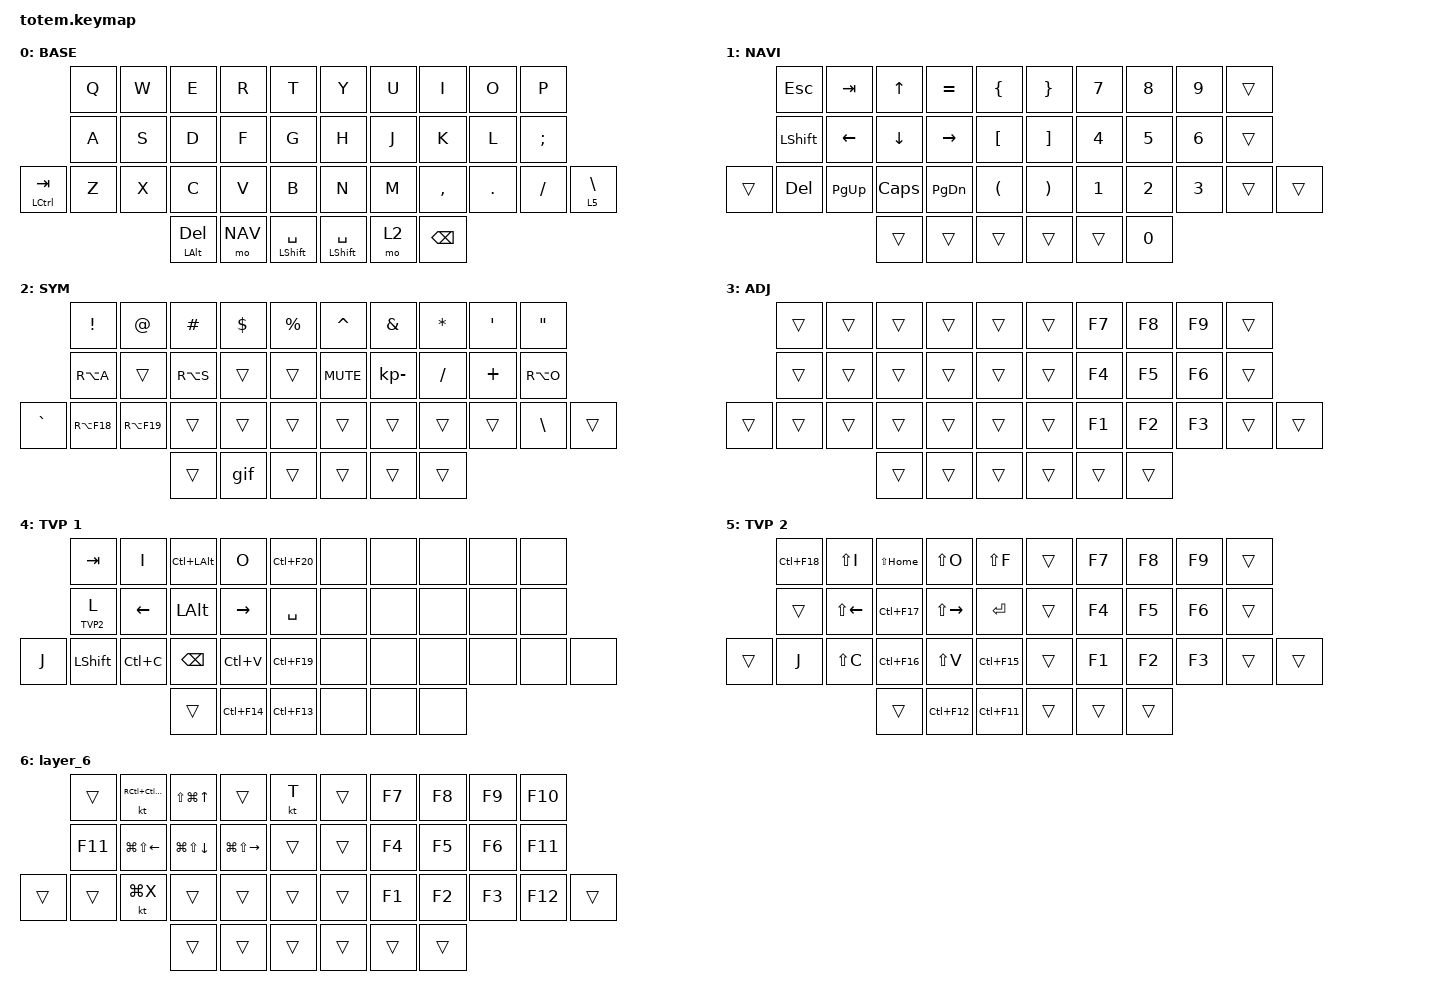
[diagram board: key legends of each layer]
//
//                                                        ▀▀▀▀▀     ▀▀▀▀▀          ▀▀█▀▀
//                                                        ▄▀▀▀▄  ▄  ▄▀▀▀▄  ▄  ▄▀▀▀▄  █  ▄▀▀▀▄
//                                                        █   █  █  █   █  █  █   █  █  █   █
//                                                         ▀▀▀   █   ▀▀▀   █   ▀▀▀   ▀   ▀▀▀
//                                                               █      ▄▄▄█▄▄▄    █   █  
//                                                               ▀      █  █  █     █▄█
//                                                             ▀▀▀▀▀    █  █  █      ▀
//                                                                      ▀  ▀  ▀
//
// ▄▄▄▄▄▄▄▄▄▄▄▄▄▄▄▄▄▄▄▄▄▄▄▄▄▄▄▄▄▄▄▄▄▄▄▄▄▄▄▄▄▄▄▄▄▄▄▄▄▄▄▄▄▄▄▄▄▄▄▄▄▄▄▄▄▄▄▄▄▄▄▄▄▄▄▄▄▄▄▄▄▄▄▄▄▄▄▄▄▄▄▄▄▄▄▄▄▄▄▄▄▄▄▄▄▄▄▄▄▄▄▄▄▄▄▄▄▄▄▄▄▄▄▄▄▄▄▄▄▄▄▄▄▄▄▄▄▄▄▄▄▄▄▄▄▄▄▄▄

#include <behaviors.dtsi>
#include <dt-bindings/zmk/keys.h>

#define BASE 0
#define NAV  1
#define SYM  2
#define ADJ  3
#define TVP1 4
#define TVP2 5

&mt {
    quick-tap-ms = <100>;
    global-quick-tap;
    tapping-term-ms = <130>;
    require-prior-idle-ms = <149>;
    flavor = "tap-preferred";
};

/ {
    combos {
        compatible = "zmk,combos";

        combo_esc {
            timeout-ms = <50>;
            key-positions = <0 1>;
            bindings = <&kp ESC>;
        };

        del {
            bindings = <&kp BACKSPACE>;
            key-positions = <16 17>;
            timeout-ms = <50>;
        };

        quotes {
            bindings = <&kp APOS>;
            key-positions = <7 8>;
            timeout-ms = <35>;
        };

        gui {
            bindings = <&kp LEFT_GUI>;
            key-positions = <32 37>;
            timeout-ms = <50>;
        };

        tab {
            bindings = <&kp TAB>;
            key-positions = <2 1>;
            timeout-ms = <25>;
        };

        home {
            bindings = <&kp HOME>;
            key-positions = <2 3>;
            timeout-ms = <20>;
        };

        end {
            bindings = <&kp END>;
            key-positions = <23 24>;
            timeout-ms = <50>;
        };

        pgup {
            bindings = <&kp PAGE_UP>;
            key-positions = <7 6>;
            timeout-ms = <20>;
        };

        pgdown {
            bindings = <&kp PAGE_DOWN>;
            key-positions = <28 27>;
            timeout-ms = <35>;
        };

        cc {
            bindings = <&kp LC(C)>;
            key-positions = <22 24>;
            timeout-ms = <50>;
        };

        vv {
            bindings = <&kp LC(V)>;
            key-positions = <22 25>;
            timeout-ms = <50>;
        };

        minus {
            bindings = <&kp MINUS>;
            key-positions = <6 5>;
            timeout-ms = <50>;
        };

        plus {
            bindings = <&kp EQUAL>;
            key-positions = <15 16>;
            timeout-ms = <50>;
        };

        delete {
            bindings = <&kp DELETE>;
            key-positions = <12 13>;
            timeout-ms = <20>;
        };

        enter2 {
            bindings = <&kp KP_ENTER>;
            key-positions = <16 18>;
            timeout-ms = <50>;
        };

        esc {
            bindings = <&kp ESCAPE>;
            key-positions = <13 2>;
            timeout-ms = <25>;
        };

        tilde {
            bindings = <&kp GRAVE>;
            key-positions = <14 13>;
        };

        bootloader {
            bindings = <&bootloader>;
            key-positions = <10 14>;
        };

        bl2 {
            bindings = <&bootloader>;
            key-positions = <15 19>;
        };

        enter {
            bindings = <&kp ENTER>;
            key-positions = <13 11>;
        };
    };

    macros {
        gif: gif {
            label = "giphy";
            compatible = "zmk,behavior-macro";
            #binding-cells = <0>;
            bindings =
                <&macro_press>,
                <&kp LSHFT>,
                <&macro_tap>,
                <&kp N2>,
                <&macro_release>,
                <&kp LSHFT>,
                <&macro_tap>,
                <&kp G &kp I &kp F>;
        };
    };

    keymap {
        compatible = "zmk,keymap";

        // ▄▄▄▄▄▄▄▄▄▄▄▄▄▄▄▄▄▄▄▄▄▄▄▄▄▄▄▄▄▄▄▄▄▄▄▄▄▄▄▄▄▄▄▄▄▄▄▄▄▄▄▄▄▄▄▄▄▄▄▄▄▄▄▄▄▄▄▄▄▄▄▄▄▄▄▄▄▄▄▄▄▄▄▄▄▄▄▄▄▄▄▄▄▄▄▄▄▄▄▄▄▄▄▄▄▄▄▄▄▄▄▄▄▄▄▄▄▄▄▄▄▄▄▄▄▄▄▄▄▄▄▄▄▄▄▄▄▄▄▄▄▄▄▄▄▄▄▄▄

        base_layer {
            // ┏━━━━━━━━━━━━━━━━━━━━━━━━━━━━━━━━━━━━━━━┓

            label = "BASE";

            // ┗━━━━━━━━━━━━━━━━━━━━━━━━━━━━━━━━━━━━━━━┛
            //             ┏━━━━━━━━━━━┳━━━━━━━━━━━┳━━━━━━━━━━━┳━━━━━━━━━━━┳━━━━━━━━━━━┓   ┏━━━━━━━━━━━┳━━━━━━━━━━━┳━━━━━━━━━━━┳━━━━━━━━━━━┳━━━━━━━━━━━┓
            //             ┃     Q     ┃     W     ┃     F     ┃     P     ┃     G     ┃   ┃     J     ┃     L     ┃     U     ┃     Y     ┃     ;     ┃
            //             ┣━━━━━━━━━━━╋━━━━━━━━━━━╋━━━━━━━━━━━╋━━━━━━━━━━━╋━━━━━━━━━━━┫   ┣━━━━━━━━━━━╋━━━━━━━━━━━╋━━━━━━━━━━━╋━━━━━━━━━━━╋━━━━━━━━━━━┫
            //             ┃     A     ┃     R     ┃     S     ┃     T     ┃     D     ┃   ┃     H     ┃     N     ┃     E     ┃     I     ┃     O     ┃
            // ┏━━━━━━━━━━━╋━━━━━━━━━━━╋━━━━━━━━━━━╋━━━━━━━━━━━╋━━━━━━━━━━━╋━━━━━━━━━━━┫   ┣━━━━━━━━━━━╋━━━━━━━━━━━╋━━━━━━━━━━━╋━━━━━━━━━━━╋━━━━━━━━━━━╋━━━━━━━━━━━┓
            // ┃     Q     ┃     Z     ┃     X     ┃     C     ┃     V     ┃     B     ┃   ┃     K     ┃     M     ┃     ,     ┃     .     ┃     /     ┃     \     ┃
            // ┗━━━━━━━━━━━┻━━━━━━━━━━━┻━━━━━━━━━━━╋━━━━━━━━━━━╋━━━━━━━━━━━╋━━━━━━━━━━━┫   ┣━━━━━━━━━━━╋━━━━━━━━━━━╋━━━━━━━━━━━╋━━━━━━━━━━━┻━━━━━━━━━━━┻━━━━━━━━━━━┛
            //                                     ┃    DEL    ┃    TAB    ┃    SPC    ┃   ┃   ENTER   ┃           ┃   BSPC    ┃
            //                                     ┗━━━━━━━━━━━┻━━━━━━━━━━━┻━━━━━━━━━━━┛   ┗━━━━━━━━━━━┻━━━━━━━━━━━┻━━━━━━━━━━━┛

            bindings = <
               &kp Q  &kp W  &kp E             &kp R    &kp T                   &kp Y                 &kp U  &kp I          &kp O    &kp P
               &kp A  &kp S  &kp D             &kp F    &kp G                   &kp H                 &kp J  &kp K          &kp L    &kp SEMICOLON
&mt LCTRL TAB  &kp Z  &kp X  &kp C             &kp V    &kp B                   &kp N                 &kp M  &kp COMMA      &kp DOT  &kp FSLH       &lt 5 BACKSLASH
                             &mt LEFT_ALT DEL  &mo NAV  &mt LEFT_SHIFT SPACE    &mt LEFT_SHIFT SPACE  &mo 2  &kp BACKSPACE
            >;
        };

        // ▄▄▄▄▄▄▄▄▄▄▄▄▄▄▄▄▄▄▄▄▄▄▄▄▄▄▄▄▄▄▄▄▄▄▄▄▄▄▄▄▄▄▄▄▄▄▄▄▄▄▄▄▄▄▄▄▄▄▄▄▄▄▄▄▄▄▄▄▄▄▄▄▄▄▄▄▄▄▄▄▄▄▄▄▄▄▄▄▄▄▄▄▄▄▄▄▄▄▄▄▄▄▄▄▄▄▄▄▄▄▄▄▄▄▄▄▄▄▄▄▄▄▄▄▄▄▄▄▄▄▄▄▄▄▄▄▄▄▄▄▄▄▄▄▄▄▄▄▄

        nav_layer {
            // ┏━━━━━━━━━━━━━━━━━━━━━━━━━━━━━━━━━━━━━━━┓

            label = "NAVI";

            // ┗━━━━━━━━━━━━━━━━━━━━━━━━━━━━━━━━━━━━━━━┛
            //             ┏━━━━━━━━━━━┳━━━━━━━━━━━┳━━━━━━━━━━━┳━━━━━━━━━━━┳━━━━━━━━━━━┓   ┏━━━━━━━━━━━┳━━━━━━━━━━━┳━━━━━━━━━━━┳━━━━━━━━━━━┳━━━━━━━━━━━┓
            //             ┃           ┃           ┃     UP    ┃           ┃     {     ┃   ┃     }     ┃     7     ┃     8     ┃     9     ┃     +     ┃
            //             ┣━━━━━━━━━━━╋━━━━━━━━━━━╋━━━━━━━━━━━╋━━━━━━━━━━━╋━━━━━━━━━━━┫   ┣━━━━━━━━━━━╋━━━━━━━━━━━╋━━━━━━━━━━━╋━━━━━━━━━━━╋━━━━━━━━━━━┫
            //             ┃   SHIFT   ┃   LEFT    ┃    DOWN   ┃   RIGHT   ┃     [     ┃   ┃     ]     ┃     4     ┃     5     ┃     6     ┃     -     ┃
            // ┏━━━━━━━━━━━╋━━━━━━━━━━━╋━━━━━━━━━━━╋━━━━━━━━━━━╋━━━━━━━━━━━╋━━━━━━━━━━━┫   ┣━━━━━━━━━━━╋━━━━━━━━━━━╋━━━━━━━━━━━╋━━━━━━━━━━━╋━━━━━━━━━━━╋━━━━━━━━━━━┓
            // ┃           ┃           ┃   P UP    ┃  C LOCK   ┃  P DOWN   ┃     (     ┃   ┃     )     ┃     1     ┃     2     ┃     3     ┃     *     ┃           ┃
            // ┗━━━━━━━━━━━┻━━━━━━━━━━━┻━━━━━━━━━━━╋━━━━━━━━━━━╋━━━━━━━━━━━╋━━━━━━━━━━━┫   ┣━━━━━━━━━━━╋━━━━━━━━━━━╋━━━━━━━━━━━╋━━━━━━━━━━━┻━━━━━━━━━━━┻━━━━━━━━━━━┛
            //                                     ┃           ┃    TAB    ┃    SPC    ┃   ┃    DEL    ┃     0     ┃           ┃
            //                                     ┗━━━━━━━━━━━┻━━━━━━━━━━━┻━━━━━━━━━━━┛   ┗━━━━━━━━━━━┻━━━━━━━━━━━┻━━━━━━━━━━━┛

            bindings = <
        &kp ESC    &kp TAB    &kp UP    &kp EQUAL  &kp LBRC    &kp RBRC  &kp N7        &kp N8        &kp N9        &trans
        &kp LSHFT  &kp LEFT   &kp DOWN  &kp RIGHT  &kp LBKT    &kp RBKT  &kp NUMBER_4  &kp N5        &kp NUMBER_6  &trans
&trans  &kp DEL    &kp PG_UP  &kp CAPS  &kp PG_DN  &kp LPAR    &kp RPAR  &kp N1        &kp NUMBER_2  &kp NUMBER_3  &trans  &trans
                              &trans    &trans     &trans      &trans    &trans        &kp N0
            >;
        };

        // ▄▄▄▄▄▄▄▄▄▄▄▄▄▄▄▄▄▄▄▄▄▄▄▄▄▄▄▄▄▄▄▄▄▄▄▄▄▄▄▄▄▄▄▄▄▄▄▄▄▄▄▄▄▄▄▄▄▄▄▄▄▄▄▄▄▄▄▄▄▄▄▄▄▄▄▄▄▄▄▄▄▄▄▄▄▄▄▄▄▄▄▄▄▄▄▄▄▄▄▄▄▄▄▄▄▄▄▄▄▄▄▄▄▄▄▄▄▄▄▄▄▄▄▄▄▄▄▄▄▄▄▄▄▄▄▄▄▄▄▄▄▄▄▄▄▄▄▄▄

        sim_layer {
            // ┏━━━━━━━━━━━━━━━━━━━━━━━━━━━━━━━━━━━━━━━┓

            label = "SYM";

            // ┗━━━━━━━━━━━━━━━━━━━━━━━━━━━━━━━━━━━━━━━┛
            //             ┏━━━━━━━━━━━┳━━━━━━━━━━━┳━━━━━━━━━━━┳━━━━━━━━━━━┳━━━━━━━━━━━┓   ┏━━━━━━━━━━━┳━━━━━━━━━━━┳━━━━━━━━━━━┳━━━━━━━━━━━┳━━━━━━━━━━━┓
            //             ┃     !     ┃     @     ┃     #     ┃     $     ┃     %     ┃   ┃     ˆ     ┃     &     ┃     Ü     ┃     '     ┃     "     ┃
            //             ┣━━━━━━━━━━━╋━━━━━━━━━━━╋━━━━━━━━━━━╋━━━━━━━━━━━╋━━━━━━━━━━━┫   ┣━━━━━━━━━━━╋━━━━━━━━━━━╋━━━━━━━━━━━╋━━━━━━━━━━━╋━━━━━━━━━━━┫
            //             ┃     Ä     ┃           ┃    SZ     ┃           ┃           ┃   ┃   MUTE    ┃   YEN     ┃   EURO    ┃  POUND    ┃     Ö     ┃
            // ┏━━━━━━━━━━━╋━━━━━━━━━━━╋━━━━━━━━━━━╋━━━━━━━━━━━╋━━━━━━━━━━━╋━━━━━━━━━━━┫   ┣━━━━━━━━━━━╋━━━━━━━━━━━╋━━━━━━━━━━━╋━━━━━━━━━━━╋━━━━━━━━━━━╋━━━━━━━━━━━┓
            // ┃           ┃  EMAIL1   ┃  EMAIL2   ┃           ┃           ┃           ┃   ┃   VOL-    ┃   VOL+    ┃   LAST    ┃   NEXT    ┃     \     ┃           ┃
            // ┗━━━━━━━━━━━┻━━━━━━━━━━━┻━━━━━━━━━━━╋━━━━━━━━━━━╋━━━━━━━━━━━╋━━━━━━━━━━━┫   ┣━━━━━━━━━━━╋━━━━━━━━━━━╋━━━━━━━━━━━╋━━━━━━━━━━━┻━━━━━━━━━━━┻━━━━━━━━━━━┛
            //                                     ┃           ┃    GIF    ┃    ADJ    ┃   ┃           ┃           ┃           ┃
            //                                     ┗━━━━━━━━━━━┻━━━━━━━━━━━┻━━━━━━━━━━━┛   ┗━━━━━━━━━━━┻━━━━━━━━━━━┻━━━━━━━━━━━┛

            bindings = <
           &kp EXCL     &kp AT       &kp HASH   &kp DLLR  &kp PRCNT    &kp CARET   &kp AMPS      &kp ASTERISK  &kp SQT   &kp DQT
           &kp RA(A)    &trans       &kp RA(S)  &trans    &trans       &kp C_MUTE  &kp KP_MINUS  &kp SLASH     &kp PLUS  &kp RA(O)
&kp GRAVE  &kp RA(F18)  &kp RA(F19)  &trans     &trans    &trans       &trans      &trans        &trans        &trans    &kp BSLH   &trans
                                     &trans     &gif      &trans       &trans      &trans        &trans
            >;
        };

        // ▄▄▄▄▄▄▄▄▄▄▄▄▄▄▄▄▄▄▄▄▄▄▄▄▄▄▄▄▄▄▄▄▄▄▄▄▄▄▄▄▄▄▄▄▄▄▄▄▄▄▄▄▄▄▄▄▄▄▄▄▄▄▄▄▄▄▄▄▄▄▄▄▄▄▄▄▄▄▄▄▄▄▄▄▄▄▄▄▄▄▄▄▄▄▄▄▄▄▄▄▄▄▄▄▄▄▄▄▄▄▄▄▄▄▄▄▄▄▄▄▄▄▄▄▄▄▄▄▄▄▄▄▄▄▄▄▄▄▄▄▄▄▄▄▄▄▄▄▄

        adjust_layer {
            // ┏━━━━━━━━━━━━━━━━━━━━━━━━━━━━━━━━━━━━━━━┓

            label = "ADJ";

            // ┗━━━━━━━━━━━━━━━━━━━━━━━━━━━━━━━━━━━━━━━┛
            //             ┏━━━━━━━━━━━┳━━━━━━━━━━━┳━━━━━━━━━━━┳━━━━━━━━━━━┳━━━━━━━━━━━┓   ┏━━━━━━━━━━━┳━━━━━━━━━━━┳━━━━━━━━━━━┳━━━━━━━━━━━┳━━━━━━━━━━━┓
            //             ┃   RESET   ┃ BT CLEAR  ┃  OUT TOG  ┃           ┃           ┃   ┃           ┃    F7     ┃    F8     ┃    F9     ┃    F12    ┃
            //             ┣━━━━━━━━━━━╋━━━━━━━━━━━╋━━━━━━━━━━━╋━━━━━━━━━━━╋━━━━━━━━━━━┫   ┣━━━━━━━━━━━╋━━━━━━━━━━━╋━━━━━━━━━━━╋━━━━━━━━━━━╋━━━━━━━━━━━┫
            //             ┃ BOOTLOAD  ┃ BT NEXT   ┃           ┃           ┃           ┃   ┃           ┃    F4     ┃    F5     ┃    F6     ┃    F11    ┃
            // ┏━━━━━━━━━━━╋━━━━━━━━━━━╋━━━━━━━━━━━╋━━━━━━━━━━━╋━━━━━━━━━━━╋━━━━━━━━━━━┫   ┣━━━━━━━━━━━╋━━━━━━━━━━━╋━━━━━━━━━━━╋━━━━━━━━━━━╋━━━━━━━━━━━╋━━━━━━━━━━━┓
            // ┃           ┃           ┃ BT PREV   ┃           ┃           ┃           ┃   ┃           ┃    F1     ┃    F2     ┃    F3     ┃    F10    ┃           ┃
            // ┗━━━━━━━━━━━┻━━━━━━━━━━━┻━━━━━━━━━━━╋━━━━━━━━━━━╋━━━━━━━━━━━╋━━━━━━━━━━━┫   ┣━━━━━━━━━━━╋━━━━━━━━━━━╋━━━━━━━━━━━╋━━━━━━━━━━━┻━━━━━━━━━━━┻━━━━━━━━━━━┛
            //                                     ┃           ┃           ┃           ┃   ┃           ┃           ┃           ┃
            //                                     ┗━━━━━━━━━━━┻━━━━━━━━━━━┻━━━━━━━━━━━┛   ┗━━━━━━━━━━━┻━━━━━━━━━━━┻━━━━━━━━━━━┛

            bindings = <
        &trans  &trans  &trans  &trans  &trans    &trans  &kp F7  &kp F8  &kp F9  &trans
        &trans  &trans  &trans  &trans  &trans    &trans  &kp F4  &kp F5  &kp F6  &trans
&trans  &trans  &trans  &trans  &trans  &trans    &trans  &kp F1  &kp F2  &kp F3  &trans  &trans
                        &trans  &trans  &trans    &trans  &trans  &trans
            >;
        };

        // ▄▄▄▄▄▄▄▄▄▄▄▄▄▄▄▄▄▄▄▄▄▄▄▄▄▄▄▄▄▄▄▄▄▄▄▄▄▄▄▄▄▄▄▄▄▄▄▄▄▄▄▄▄▄▄▄▄▄▄▄▄▄▄▄▄▄▄▄▄▄▄▄▄▄▄▄▄▄▄▄▄▄▄▄▄▄▄▄▄▄▄▄▄▄▄▄▄▄▄▄▄▄▄▄▄▄▄▄▄▄▄▄▄▄▄▄▄▄▄▄▄▄▄▄▄▄▄▄▄▄▄▄▄▄▄▄▄▄▄▄▄▄▄▄▄▄▄▄▄

        tvp1_layer {
            // ┏━━━━━━━━━━━━━━━━━━━━━━━━━━━━━━━━━━━━━━━┓

            label = "TVP 1";

            // ┗━━━━━━━━━━━━━━━━━━━━━━━━━━━━━━━━━━━━━━━┛
            //             ┏━━━━━━━━━━━┳━━━━━━━━━━━┳━━━━━━━━━━━┳━━━━━━━━━━━┳━━━━━━━━━━━┓   ┏━━━━━━━━━━━┳━━━━━━━━━━━┳━━━━━━━━━━━┳━━━━━━━━━━━┳━━━━━━━━━━━┓
            //             ┃ NEXT FILE ┃ MARK IN   ┃ ROTATE    ┃ MARK OUT  ┃ SHOW SNAP ┃   ┃           ┃           ┃           ┃           ┃           ┃
            //             ┣━━━━━━━━━━━╋━━━━━━━━━━━╋━━━━━━━━━━━╋━━━━━━━━━━━╋━━━━━━━━━━━┫   ┣━━━━━━━━━━━╋━━━━━━━━━━━╋━━━━━━━━━━━╋━━━━━━━━━━━╋━━━━━━━━━━━┫
            //             ┃ TVP II    ┃ LEFT      ┃ PAN       ┃ RIGHT     ┃ PLAY/FLIP ┃   ┃           ┃           ┃           ┃           ┃           ┃
            // ┏━━━━━━━━━━━╋━━━━━━━━━━━╋━━━━━━━━━━━╋━━━━━━━━━━━╋━━━━━━━━━━━╋━━━━━━━━━━━┫   ┣━━━━━━━━━━━╋━━━━━━━━━━━╋━━━━━━━━━━━╋━━━━━━━━━━━╋━━━━━━━━━━━╋━━━━━━━━━━━┓
            // ┃ FULLSCR   ┃ SHIFT     ┃ COPY      ┃ DELETE    ┃ PASTE     ┃ IMG MARK  ┃   ┃           ┃           ┃           ┃           ┃           ┃           ┃
            // ┗━━━━━━━━━━━┻━━━━━━━━━━━┻━━━━━━━━━━━╋━━━━━━━━━━━╋━━━━━━━━━━━╋━━━━━━━━━━━┫   ┣━━━━━━━━━━━╋━━━━━━━━━━━╋━━━━━━━━━━━╋━━━━━━━━━━━┻━━━━━━━━━━━┻━━━━━━━━━━━┛
            //                                     ┃           ┃ UNDO/SAVE ┃  SEL/MOV  ┃   ┃           ┃           ┃           ┃
            //                                     ┗━━━━━━━━━━━┻━━━━━━━━━━━┻━━━━━━━━━━━┛   ┗━━━━━━━━━━━┻━━━━━━━━━━━┻━━━━━━━━━━━┛

            bindings = <
       &kp TAB     &kp I      &kp LC(LALT)  &kp O        &kp LC(F20)    &none  &none  &none  &none  &none
       &lt TVP2 L  &kp LEFT   &kp LALT      &kp RIGHT    &kp SPACE      &none  &none  &none  &none  &none
&kp J  &kp LSHFT   &kp LC(C)  &kp BSPC      &kp LC(V)    &kp LC(F19)    &none  &none  &none  &none  &none  &none
                              &trans        &kp LC(F14)  &kp LC(F13)    &none  &none  &none
            >;
        };

        // ▄▄▄▄▄▄▄▄▄▄▄▄▄▄▄▄▄▄▄▄▄▄▄▄▄▄▄▄▄▄▄▄▄▄▄▄▄▄▄▄▄▄▄▄▄▄▄▄▄▄▄▄▄▄▄▄▄▄▄▄▄▄▄▄▄▄▄▄▄▄▄▄▄▄▄▄▄▄▄▄▄▄▄▄▄▄▄▄▄▄▄▄▄▄▄▄▄▄▄▄▄▄▄▄▄▄▄▄▄▄▄▄▄▄▄▄▄▄▄▄▄▄▄▄▄▄▄▄▄▄▄▄▄▄▄▄▄▄▄▄▄▄▄▄▄▄▄▄▄

        tvp2_layer {
            // ┏━━━━━━━━━━━━━━━━━━━━━━━━━━━━━━━━━━━━━━━┓

            label = "TVP 2";

            // ┗━━━━━━━━━━━━━━━━━━━━━━━━━━━━━━━━━━━━━━━┛
            //             ┏━━━━━━━━━━━┳━━━━━━━━━━━┳━━━━━━━━━━━┳━━━━━━━━━━━┳━━━━━━━━━━━┓   ┏━━━━━━━━━━━┳━━━━━━━━━━━┳━━━━━━━━━━━┳━━━━━━━━━━━┳━━━━━━━━━━━┓
            //             ┃ SOLO      ┃ TOGGLE IN ┃ RESET ROT ┃ TOGGLE OUT┃ TAKE SNAP ┃   ┃           ┃           ┃           ┃           ┃           ┃
            //             ┣━━━━━━━━━━━╋━━━━━━━━━━━╋━━━━━━━━━━━╋━━━━━━━━━━━╋━━━━━━━━━━━┫   ┣━━━━━━━━━━━╋━━━━━━━━━━━╋━━━━━━━━━━━╋━━━━━━━━━━━╋━━━━━━━━━━━┫
            //             ┃ ---       ┃ LAST KEY  ┃ NEW KEY   ┃ NEXT KEY  ┃ ENTER     ┃   ┃           ┃           ┃           ┃           ┃           ┃
            // ┏━━━━━━━━━━━╋━━━━━━━━━━━╋━━━━━━━━━━━╋━━━━━━━━━━━╋━━━━━━━━━━━╋━━━━━━━━━━━┫   ┣━━━━━━━━━━━╋━━━━━━━━━━━╋━━━━━━━━━━━╋━━━━━━━━━━━╋━━━━━━━━━━━╋━━━━━━━━━━━┓
            // ┃           ┃ FULLSCR   ┃ CPY2BRUSH ┃ DEL HEAD  ┃ PSTinPLACE┃ BOOK MARK ┃   ┃           ┃           ┃           ┃           ┃           ┃           ┃
            // ┗━━━━━━━━━━━┻━━━━━━━━━━━┻━━━━━━━━━━━╋━━━━━━━━━━━╋━━━━━━━━━━━╋━━━━━━━━━━━┫   ┣━━━━━━━━━━━╋━━━━━━━━━━━╋━━━━━━━━━━━╋━━━━━━━━━━━┻━━━━━━━━━━━┻━━━━━━━━━━━┛
            //                                     ┃           ┃ REDO/SAV1 ┃TRANS/WARP ┃   ┃           ┃           ┃           ┃
            //                                     ┗━━━━━━━━━━━┻━━━━━━━━━━━┻━━━━━━━━━━━┛   ┗━━━━━━━━━━━┻━━━━━━━━━━━┻━━━━━━━━━━━┛

            bindings = <
        &kp LC(F18)  &kp LS(I)     &kp LS(HOME)  &kp LS(O)      &kp LS(F)      &trans  &kp F7  &kp F8  &kp F9  &trans
        &trans       &kp LS(LEFT)  &kp LC(F17)   &kp LS(RIGHT)  &kp RET        &trans  &kp F4  &kp F5  &kp F6  &trans
&trans  &kp J        &kp LS(C)     &kp LC(F16)   &kp LS(V)      &kp LC(F15)    &trans  &kp F1  &kp F2  &kp F3  &trans  &trans
                                   &trans        &kp LC(F12)    &kp LC(F11)    &trans  &trans  &trans
            >;
        };

        layer_6 {
            bindings = <
        &trans   &kt RC(LC(LS(LG(S))))  &kp LS(LG(UP_ARROW))  &trans             &kt T     &trans  &kp F7  &kp F8  &kp F9  &kp F10
        &kp F11  &kp LG(LS(LEFT))       &kp LG(LS(DOWN))      &kp LG(LS(RIGHT))  &trans    &trans  &kp F4  &kp F5  &kp F6  &kp F11
&trans  &trans   &kt LG(X)              &trans                &trans             &trans    &trans  &kp F1  &kp F2  &kp F3  &kp F12  &trans
                                        &trans                &trans             &trans    &trans  &trans  &trans
            >;
        };
    };
};
